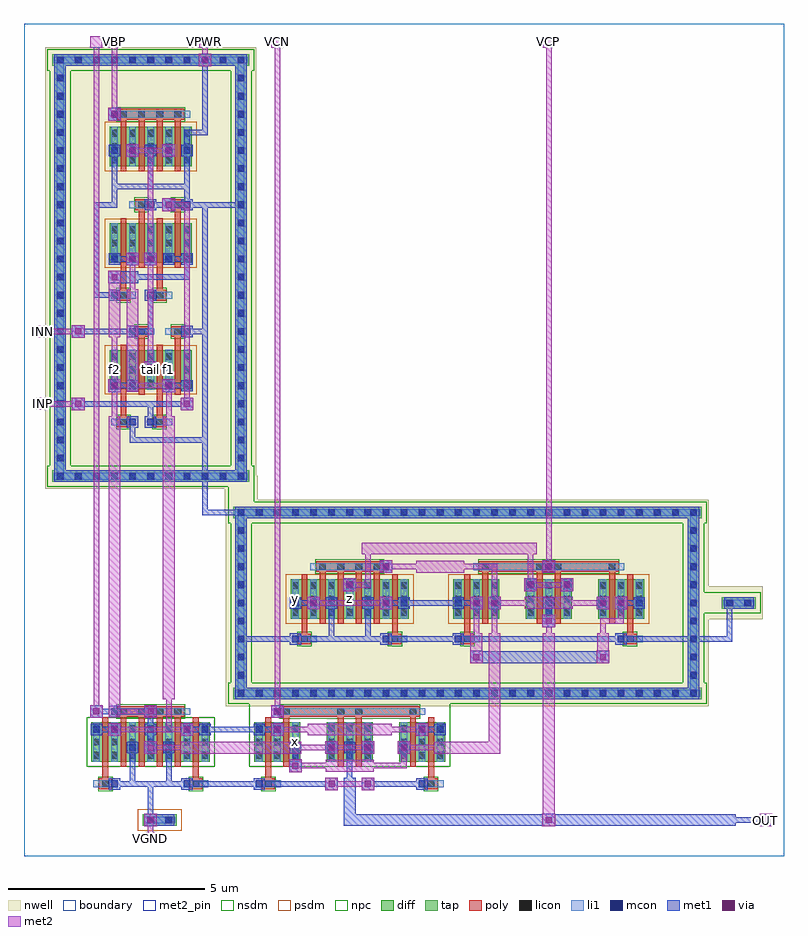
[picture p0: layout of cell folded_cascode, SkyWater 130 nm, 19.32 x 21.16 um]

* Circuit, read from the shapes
.subckt folded_cascode INN INP OUT VBN VBP VCN VCP VGND VPWR f1 f2 tail x y z
XM1 f1 VGND f1 VGND sky130_fd_pr__nfet_01v8 w=1 l=0.15 m=4
XM2 VGND VBN f1 VGND sky130_fd_pr__nfet_01v8 w=1 l=0.15 m=2
XM3 f2 VBN VGND VGND sky130_fd_pr__nfet_01v8 w=1 l=0.15 m=2
XM4 x VCN f1 VGND sky130_fd_pr__nfet_01v8 w=1 l=0.15 m=2
XM5 OUT VCN f2 VGND sky130_fd_pr__nfet_01v8 w=1 l=0.15 m=2
XM6 f2 VPWR f2 VPWR sky130_fd_pr__pfet_01v8 w=1 l=0.15 m=2
XM7 f1 VPWR f1 VPWR sky130_fd_pr__pfet_01v8 w=1 l=0.15 m=2
XM8 tail VBP VPWR VPWR sky130_fd_pr__pfet_01v8 w=1 l=0.15 m=4
XM9 tail INN f2 VPWR sky130_fd_pr__pfet_01v8 w=1 l=0.15 m=2
XM10 tail INP f1 VPWR sky130_fd_pr__pfet_01v8 w=1 l=0.15 m=2
XM11 y VPWR y VPWR sky130_fd_pr__pfet_01v8 w=1 l=0.15 m=4
XM12 VPWR x y VPWR sky130_fd_pr__pfet_01v8 w=1 l=0.15 m=2
XM13 z x VPWR VPWR sky130_fd_pr__pfet_01v8 w=1 l=0.15 m=2
XM14 x VCP y VPWR sky130_fd_pr__pfet_01v8 w=1 l=0.15 m=2
XM15 OUT VCP z VPWR sky130_fd_pr__pfet_01v8 w=1 l=0.15 m=2
.ends

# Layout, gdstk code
import gdstk
lib = gdstk.Library(unit=1e-6, precision=1e-09)
def R(c, l, rs):  # rectangles x0, y0, x1, y1
    for r in rs: c.add(gdstk.rectangle(r[:2], r[2:], *l))
def A(c, l, x, y, w, h, nx, ny, dx, dy):  # array of equal rectangles
    R(c, l, [(x+i*dx, y+j*dy, x+i*dx+w, y+j*dy+h) for i in range(nx) for j in range(ny)])
nwell = (64, 20)
diff = (65, 20)
tap = (65, 44)
poly = (66, 20)
licon = (66, 44)
li1 = (67, 20)
mcon = (67, 44)
met1 = (68, 20)
via = (68, 44)
met2_pin = (69, 16)
met2 = (69, 20)
nsdm = (93, 44)
psdm = (94, 20)
npc = (95, 20)
boundary = (235, 4)

folded_cascode = lib.new_cell('folded_cascode')
R(folded_cascode, nwell, [(5.135,3.815,17.405,6.02), (5.135,6.02,18.785,6.86), (5.135,6.86,17.405,8.729), (5.1,8.729,17.405,9.065), (5.1,9.065,5.94,9.335), (0.535,9.335,5.94,9.671), (0.535,9.671,5.905,20.565)])
A(folded_cascode, diff, 5.855, 2.405, 1.17, 1, 3, 1, 1.84, 0)
A(folded_cascode, diff, 10.915, 6.04, 1.17, 1, 3, 1, 1.84, 0)
R(folded_cascode, diff, [(1.715,2.405,4.725,3.405), (6.775,6.04,9.785,7.04), (2.175,11.865,4.265,12.865), (2.175,15.085,4.265,16.085), (2.175,17.54,4.265,18.54)])
R(folded_cascode, tap, [(3.015,0.775,3.885,1.065), (5.315,3.995,17.225,4.285), (5.375,3.995,5.665,8.885), (16.875,3.995,17.165,8.885), (17.735,6.295,18.605,6.585), (5.315,8.595,17.225,8.885), (0.715,9.515,5.725,9.805), (0.775,9.515,1.065,20.385), (5.375,9.515,5.665,20.385), (0.715,20.095,5.725,20.385)])
A(folded_cascode, poly, 2.455, 2.275, 0.15, 1.405, 4, 1, 0.46, 0)
A(folded_cascode, poly, 7.515, 5.91, 0.15, 1.45, 4, 1, 0.46, 0)
A(folded_cascode, poly, 2.455, 17.41, 0.15, 1.45, 4, 1, 0.46, 0)
R(folded_cascode, poly, [(1.905,1.705,2.235,1.975), (4.205,1.705,4.535,1.975), (6.045,1.705,6.375,1.975), (10.185,1.705,10.515,1.975), (1.995,1.84,2.145,3.535), (4.295,1.84,4.445,3.535), (6.135,1.84,6.285,3.535), (10.275,1.84,10.425,3.535), (6.595,2.275,6.745,3.68), (7.975,2.275,8.125,3.68), (8.435,2.275,8.585,3.68), (9.815,2.275,9.965,3.68), (2.365,3.545,4.075,3.815), (6.505,3.545,10.055,3.815), (6.965,5.385,7.295,5.655), (9.265,5.385,9.595,5.655), (11.105,5.385,11.435,5.655), (15.245,5.385,15.575,5.655), (7.055,5.52,7.205,7.17), (9.355,5.52,9.505,7.17), (11.195,5.52,11.345,7.17), (15.335,5.52,15.485,7.17), (11.655,5.91,11.805,7.36), (13.035,5.91,13.185,7.36), (13.495,5.91,13.645,7.36), (14.875,5.91,15.025,7.36), (7.425,7.225,9.135,7.495), (11.565,7.225,15.115,7.495), (2.365,10.905,2.695,11.175), (3.285,10.905,3.615,11.175), (2.455,11.04,2.605,12.995), (3.375,11.04,3.525,12.995), (2.915,11.735,3.065,13.34), (3.835,11.735,3.985,13.34), (2.825,13.205,3.155,13.475), (3.745,13.205,4.075,13.475), (2.365,14.125,2.695,14.395), (3.285,14.125,3.615,14.395), (2.455,14.26,2.605,16.215), (3.375,14.26,3.525,16.215), (2.915,14.955,3.065,16.56), (3.835,14.955,3.985,16.56), (2.825,16.425,3.155,16.695), (3.745,16.425,4.075,16.695), (2.365,18.725,4.075,18.995)])
A(folded_cascode, licon, 1.755, 2.48, 0.17, 0.17, 7, 3, 0.46, 0.34)
A(folded_cascode, licon, 5.895, 2.48, 0.17, 0.17, 3, 3, 0.46, 0.34)
A(folded_cascode, licon, 7.735, 2.48, 0.17, 0.17, 3, 3, 0.46, 0.34)
A(folded_cascode, licon, 9.575, 2.48, 0.17, 0.17, 3, 3, 0.46, 0.34)
A(folded_cascode, licon, 2.445, 3.595, 0.17, 0.17, 4, 2, 0.46, 15.18)
A(folded_cascode, licon, 5.435, 4.055, 0.17, 0.17, 26, 2, 0.46, 4.6)
A(folded_cascode, licon, 5.435, 4.515, 0.17, 0.17, 1, 9, 0, 0.46)
A(folded_cascode, licon, 16.935, 4.515, 0.17, 0.17, 1, 9, 0, 0.46)
A(folded_cascode, licon, 6.815, 6.115, 0.17, 0.17, 7, 3, 0.46, 0.34)
A(folded_cascode, licon, 10.955, 6.115, 0.17, 0.17, 3, 3, 0.46, 0.34)
A(folded_cascode, licon, 12.795, 6.115, 0.17, 0.17, 3, 3, 0.46, 0.34)
A(folded_cascode, licon, 14.635, 6.115, 0.17, 0.17, 3, 3, 0.46, 0.34)
A(folded_cascode, licon, 7.505, 7.275, 0.17, 0.17, 4, 1, 0.46, 0)
A(folded_cascode, licon, 0.835, 9.575, 0.17, 0.17, 11, 2, 0.46, 10.58)
A(folded_cascode, licon, 0.835, 10.035, 0.17, 0.17, 1, 22, 0, 0.46)
A(folded_cascode, licon, 5.435, 10.035, 0.17, 0.17, 1, 22, 0, 0.46)
A(folded_cascode, licon, 2.215, 11.94, 0.17, 0.17, 5, 3, 0.46, 0.34)
A(folded_cascode, licon, 2.215, 15.16, 0.17, 0.17, 5, 3, 0.46, 0.34)
A(folded_cascode, licon, 2.215, 17.615, 0.17, 0.17, 5, 3, 0.46, 0.34)
R(folded_cascode, licon, [(3.135,0.835,3.305,1.005), (3.595,0.835,3.765,1.005), (1.985,1.755,2.155,1.925), (4.285,1.755,4.455,1.925), (6.125,1.755,6.295,1.925), (10.265,1.755,10.435,1.925), (6.585,3.595,6.755,3.765), (7.965,3.595,8.135,3.765), (8.425,3.595,8.595,3.765), (9.805,3.595,9.975,3.765), (7.045,5.435,7.215,5.605), (9.345,5.435,9.515,5.605), (11.185,5.435,11.355,5.605), (15.325,5.435,15.495,5.605), (17.855,6.355,18.025,6.525), (18.315,6.355,18.485,6.525), (11.645,7.275,11.815,7.445), (13.025,7.275,13.195,7.445), (13.485,7.275,13.655,7.445), (14.865,7.275,15.035,7.445), (2.445,10.955,2.615,11.125), (3.365,10.955,3.535,11.125), (2.905,13.255,3.075,13.425), (3.825,13.255,3.995,13.425), (2.445,14.175,2.615,14.345), (3.365,14.175,3.535,14.345), (2.905,16.475,3.075,16.645), (3.825,16.475,3.995,16.645)])
A(folded_cascode, li1, 1.755, 2.4, 0.17, 1.01, 7, 1, 0.46, 0)
A(folded_cascode, li1, 5.895, 2.4, 0.17, 1.01, 3, 1, 0.46, 0)
A(folded_cascode, li1, 7.735, 2.4, 0.17, 1.01, 3, 1, 0.46, 0)
A(folded_cascode, li1, 9.575, 2.4, 0.17, 1.01, 3, 1, 0.46, 0)
A(folded_cascode, li1, 6.815, 6.035, 0.17, 1.01, 7, 1, 0.46, 0)
A(folded_cascode, li1, 10.955, 6.035, 0.17, 1.01, 3, 1, 0.46, 0)
A(folded_cascode, li1, 12.795, 6.035, 0.17, 1.01, 3, 1, 0.46, 0)
A(folded_cascode, li1, 14.635, 6.035, 0.17, 1.01, 3, 1, 0.46, 0)
A(folded_cascode, li1, 2.215, 11.86, 0.17, 1.01, 5, 2, 0.46, 3.22)
A(folded_cascode, li1, 2.215, 17.535, 0.17, 1.01, 5, 1, 0.46, 0)
R(folded_cascode, li1, [(3.055,0.835,3.845,1.005), (1.755,1.755,2.385,1.925), (4.055,1.755,4.685,1.925), (5.895,1.755,6.525,1.925), (10.035,1.755,10.665,1.925), (2.215,3.595,4.225,3.765), (6.355,3.595,10.205,3.765), (5.355,4.055,17.185,4.225), (5.435,4.055,5.605,8.825), (16.935,4.055,17.105,8.825), (6.815,5.435,7.445,5.605), (9.115,5.435,9.745,5.605), (10.955,5.435,11.585,5.605), (15.095,5.435,15.725,5.605), (17.775,6.355,18.565,6.525), (7.275,7.275,9.285,7.445), (11.415,7.275,15.265,7.445), (5.355,8.655,17.185,8.825), (0.755,9.575,5.685,9.745), (0.835,9.575,1.005,20.325), (5.435,9.575,5.605,20.325), (2.215,10.955,2.845,11.125), (3.135,10.955,3.765,11.125), (2.675,13.255,3.305,13.425), (3.595,13.255,4.225,13.425), (2.215,14.175,2.845,14.345), (3.135,14.175,3.765,14.345), (2.675,16.475,3.305,16.645), (3.595,16.475,4.225,16.645), (2.215,18.775,4.225,18.945), (0.755,20.155,5.685,20.325)])
A(folded_cascode, mcon, 2.215, 1.755, 0.17, 0.17, 3, 1, 1.84, 0)
A(folded_cascode, mcon, 7.735, 2.675, 0.17, 0.17, 3, 1, 0.46, 0)
A(folded_cascode, mcon, 2.215, 3.135, 0.17, 0.17, 3, 1, 0.92, 0)
A(folded_cascode, mcon, 5.435, 4.055, 0.17, 0.17, 26, 2, 0.46, 4.6)
A(folded_cascode, mcon, 5.435, 4.515, 0.17, 0.17, 1, 9, 0, 0.46)
A(folded_cascode, mcon, 16.935, 4.515, 0.17, 0.17, 1, 9, 0, 0.46)
A(folded_cascode, mcon, 6.815, 6.355, 0.17, 0.17, 3, 1, 0.46, 0)
A(folded_cascode, mcon, 8.655, 6.355, 0.17, 0.17, 3, 1, 0.46, 0)
A(folded_cascode, mcon, 10.955, 6.355, 0.17, 0.17, 3, 1, 0.46, 0)
A(folded_cascode, mcon, 14.635, 6.355, 0.17, 0.17, 3, 1, 0.46, 0)
A(folded_cascode, mcon, 0.835, 9.575, 0.17, 0.17, 11, 2, 0.46, 10.58)
A(folded_cascode, mcon, 0.835, 10.035, 0.17, 0.17, 1, 5, 0, 0.46)
A(folded_cascode, mcon, 5.435, 10.035, 0.17, 0.17, 1, 5, 0, 0.46)
A(folded_cascode, mcon, 0.835, 12.335, 0.17, 0.17, 3, 1, 2.3, 0)
A(folded_cascode, mcon, 0.835, 12.795, 0.17, 0.17, 1, 16, 0, 0.46)
A(folded_cascode, mcon, 2.675, 13.255, 0.17, 0.17, 3, 1, 1.38, 0)
A(folded_cascode, mcon, 5.435, 13.715, 0.17, 0.17, 1, 14, 0, 0.46)
A(folded_cascode, mcon, 2.215, 15.095, 0.17, 0.17, 5, 2, 0.46, 2.76)
R(folded_cascode, mcon, [(3.135,0.835,3.305,1.005), (3.595,0.835,3.765,1.005), (10.035,1.755,10.205,1.925), (2.675,2.675,2.845,2.845), (3.595,2.675,3.765,2.845), (6.815,2.675,6.985,2.845), (9.575,2.675,9.745,2.845), (1.755,3.135,1.925,3.305), (4.515,3.135,4.685,3.305), (5.895,3.135,6.065,3.305), (6.355,3.135,6.525,3.305), (10.035,3.135,10.205,3.305), (10.495,3.135,10.665,3.305), (2.215,3.595,2.385,3.765), (6.355,3.595,6.525,3.765), (6.815,5.435,6.985,5.605), (9.115,5.435,9.285,5.605), (10.955,5.435,11.125,5.605), (15.095,5.435,15.265,5.605), (13.255,6.355,13.425,6.525), (17.855,6.355,18.025,6.525), (18.315,6.355,18.485,6.525), (8.195,6.815,8.365,6.985), (12.795,6.815,12.965,6.985), (13.715,6.815,13.885,6.985), (9.115,7.275,9.285,7.445), (13.255,7.275,13.425,7.445), (2.675,10.955,2.845,11.125), (3.135,10.955,3.305,11.125), (2.215,11.875,2.385,12.045), (2.675,11.875,2.845,12.045), (3.595,11.875,3.765,12.045), (4.055,11.875,4.225,12.045), (5.435,12.795,5.605,12.965), (2.215,14.175,2.385,14.345), (3.135,14.175,3.305,14.345), (3.135,16.475,3.305,16.645), (4.055,16.475,4.225,16.645), (2.215,18.775,2.385,18.945)])
A(folded_cascode, met1, 2.155, 1.695, 0.29, 0.29, 3, 1, 1.84, 0)
A(folded_cascode, met1, 7.66, 2.6, 0.32, 0.32, 3, 1, 0.92, 0)
A(folded_cascode, met1, 7.675, 2.615, 0.29, 0.29, 3, 1, 0.46, 0)
A(folded_cascode, met1, 2.155, 3.075, 0.29, 0.29, 3, 1, 0.92, 0)
A(folded_cascode, met1, 6.755, 6.295, 0.29, 0.29, 3, 1, 0.46, 0)
A(folded_cascode, met1, 8.595, 6.295, 0.29, 0.29, 3, 1, 0.46, 0)
A(folded_cascode, met1, 10.895, 6.295, 0.29, 0.29, 3, 1, 0.46, 0)
A(folded_cascode, met1, 14.575, 6.295, 0.29, 0.29, 3, 1, 0.46, 0)
A(folded_cascode, met1, 2.155, 15.035, 0.29, 0.29, 5, 2, 0.46, 2.76)
R(folded_cascode, met1, [(3.06,0.76,3.38,1.08), (13.18,0.76,13.5,1.08), (18.7,0.76,19.02,1.08), (8.13,0.77,18.09,1.07), (8.13,0.77,8.43,1.99), (3.075,0.775,3.825,1.065), (3.15,0.85,3.29,1.91), (3.15,0.85,3.29,0.99), (17.87,0.85,18.93,0.99), (7.66,1.68,7.98,2), (8.58,1.68,8.9,2), (9.975,1.695,10.265,1.985), (2.23,1.77,2.83,1.91), (2.69,1.77,4.21,1.91), (2.69,1.77,2.83,2.83), (3.61,1.77,3.75,2.83), (4.07,1.77,6.05,1.91), (5.91,1.77,7.89,1.91), (8.21,1.77,8.35,2.83), (8.67,1.77,10.19,1.91), (6.74,2.14,7.06,2.46), (6.83,2.23,6.97,2.83), (3.06,2.6,3.38,2.92), (2.615,2.615,2.905,2.905), (3.535,2.615,3.825,2.905), (6.755,2.615,7.045,2.905), (9.515,2.615,9.805,2.905), (3.15,2.69,3.29,3.29), (2.14,3.06,2.46,3.38), (3.98,3.06,4.3,3.38), (6.28,3.06,6.6,3.38), (9.96,3.06,10.28,3.38), (1.695,3.075,1.985,3.365), (4.455,3.075,4.745,3.365), (5.835,3.075,6.125,3.365), (6.295,3.075,6.585,3.365), (9.975,3.075,10.265,3.365), (10.435,3.075,10.725,3.365), (1.77,3.15,2.37,3.29), (3.15,3.15,3.29,3.75), (4.07,3.15,4.67,3.29), (4.53,3.15,6.05,3.29), (5.91,3.15,6.51,3.29), (10.05,3.15,10.65,3.29), (1.68,3.52,2,3.84), (3.06,3.52,3.38,3.84), (6.28,3.52,6.6,3.84), (2.155,3.535,2.445,3.825), (6.295,3.535,6.585,3.825), (1.77,3.61,2.37,3.75), (5.375,3.995,17.165,4.285), (5.375,3.995,5.665,8.885), (16.875,3.995,17.165,8.885), (11.34,4.9,11.66,5.22), (14.56,4.9,14.88,5.22), (11.35,4.91,14.87,5.21), (6.755,5.375,7.045,5.665), (9.055,5.375,9.345,5.665), (10.895,5.375,11.185,5.665), (15.035,5.375,15.325,5.665), (5.45,5.45,6.97,5.59), (5.45,5.45,5.59,8.81), (6.83,5.45,7.89,5.59), (7.75,5.45,9.27,5.59), (7.75,5.45,7.89,6.51), (8.67,5.45,8.81,6.51), (9.13,5.45,11.11,5.59), (10.97,5.45,15.25,5.59), (15.11,5.45,18.01,5.59), (17.87,5.45,18.01,6.51), (13.18,5.82,13.5,6.14), (13.27,5.91,13.41,6.51), (7.2,6.28,7.52,6.6), (9.04,6.28,9.36,6.6), (11.34,6.28,11.66,6.6), (11.8,6.28,12.12,6.6), (14.56,6.28,14.88,6.6), (15.02,6.28,15.34,6.6), (13.195,6.295,13.485,6.585), (17.795,6.295,18.545,6.585), (6.83,6.37,7.43,6.51), (9.13,6.37,9.73,6.51), (9.59,6.37,11.11,6.51), (10.97,6.37,11.57,6.51), (15.11,6.37,15.71,6.51), (17.87,6.37,18.01,6.51), (8.12,6.74,8.44,7.06), (12.72,6.74,13.04,7.06), (13.64,6.74,13.96,7.06), (8.135,6.755,8.425,7.045), (12.735,6.755,13.025,7.045), (13.655,6.755,13.945,7.045), (9.04,7.2,9.36,7.52), (13.18,7.2,13.5,7.52), (9.055,7.215,9.345,7.505), (13.195,7.215,13.485,7.505), (5.375,8.595,17.165,8.885), (4.53,8.67,4.67,10.65), (4.53,8.67,5.59,8.81), (5.45,8.67,5.59,8.81), (5.45,8.67,5.59,8.81), (0.775,9.515,1.065,20.385), (0.775,9.515,5.665,9.805), (5.375,9.515,5.665,20.385), (2.69,10.51,4.67,10.65), (2.69,10.51,2.83,11.11), (4.53,10.51,4.67,13.41), (2.615,10.895,2.905,11.185), (3.075,10.895,3.365,11.185), (3.15,10.97,3.29,11.57), (1.22,11.34,1.54,11.66), (3.98,11.34,4.3,11.66), (1.31,11.43,3.29,11.57), (3.15,11.43,4.21,11.57), (2.14,11.8,2.46,12.12), (3.52,11.8,3.84,12.12), (2.155,11.815,2.445,12.105), (2.615,11.815,2.905,12.105), (3.535,11.815,3.825,12.105), (3.995,11.815,4.285,12.105), (2.23,11.89,2.83,12.03), (3.61,11.89,4.21,12.03), (3.06,12.26,3.38,12.58), (3.075,12.275,3.365,12.565), (1.22,13.18,1.54,13.5), (2.615,13.195,2.905,13.485), (3.995,13.195,4.285,13.485), (1.31,13.27,2.83,13.41), (2.69,13.27,3.29,13.41), (3.15,13.27,3.29,14.33), (4.07,13.27,4.67,13.41), (4.53,13.27,4.67,16.63), (2.155,14.115,2.445,14.405), (3.075,14.115,3.365,14.405), (1.77,14.19,2.37,14.33), (1.77,14.19,1.91,16.63), (2.14,14.56,2.46,14.88), (2.15,14.57,2.91,14.87), (2.69,14.65,4.21,14.79), (4.07,14.65,4.21,15.25), (2.6,15.02,2.92,15.34), (3.06,15.02,3.38,15.34), (2.23,15.11,2.83,15.25), (3.61,15.11,4.21,15.25), (3.52,16.4,3.84,16.72), (3.075,16.415,3.365,16.705), (3.995,16.415,4.285,16.705), (1.77,16.49,2.37,16.63), (2.23,16.49,2.37,17.09), (3.15,16.49,3.75,16.63), (4.07,16.49,5.59,16.63), (4.07,16.49,4.21,18.01), (5.45,16.49,5.59,16.63), (2.23,16.95,2.37,18.01), (2.23,16.95,3.29,17.09), (3.15,16.95,3.29,18.01), (3.15,16.95,4.21,17.09), (2.6,17.78,2.92,18.1), (3.52,17.78,3.84,18.1), (4.07,17.87,4.21,18.47), (4.07,18.33,4.67,18.47), (4.53,18.33,4.67,20.31), (2.14,18.7,2.46,19.02), (2.155,18.715,2.445,19.005), (4.44,20.08,4.76,20.4), (0.775,20.095,5.665,20.385), (4.53,20.17,4.67,20.31)])
A(folded_cascode, via, 7.745, 2.685, 0.15, 0.15, 3, 1, 0.92, 0)
R(folded_cascode, via, [(3.145,0.845,3.295,0.995), (13.265,0.845,13.415,0.995), (18.785,0.845,18.935,0.995), (7.745,1.765,7.895,1.915), (8.665,1.765,8.815,1.915), (6.825,2.225,6.975,2.375), (3.145,2.685,3.295,2.835), (2.225,3.145,2.375,3.295), (4.065,3.145,4.215,3.295), (6.365,3.145,6.515,3.295), (10.045,3.145,10.195,3.295), (1.765,3.605,1.915,3.755), (3.145,3.605,3.295,3.755), (6.365,3.605,6.515,3.755), (11.425,4.985,11.575,5.135), (14.645,4.985,14.795,5.135), (13.265,5.905,13.415,6.055), (7.285,6.365,7.435,6.515), (9.125,6.365,9.275,6.515), (11.425,6.365,11.575,6.515), (11.885,6.365,12.035,6.515), (14.645,6.365,14.795,6.515), (15.105,6.365,15.255,6.515), (8.205,6.825,8.355,6.975), (12.805,6.825,12.955,6.975), (13.725,6.825,13.875,6.975), (9.125,7.285,9.275,7.435), (13.265,7.285,13.415,7.435), (1.305,11.425,1.455,11.575), (4.065,11.425,4.215,11.575), (2.225,11.885,2.375,12.035), (3.605,11.885,3.755,12.035), (3.145,12.345,3.295,12.495), (1.305,13.265,1.455,13.415), (2.225,14.645,2.375,14.795), (2.685,15.105,2.835,15.255), (3.145,15.105,3.295,15.255), (3.605,16.485,3.755,16.635), (2.685,17.865,2.835,18.015), (3.605,17.865,3.755,18.015), (2.225,18.785,2.375,18.935), (4.525,20.165,4.675,20.315)])
R(folded_cascode, met2_pin, [(3.07,0.31,3.37,0.61), (18.71,0.77,19.01,1.07), (0.31,11.35,0.61,11.65), (0.31,13.19,0.61,13.49), (1.69,20.55,1.99,20.85), (2.15,20.55,2.45,20.85), (4.45,20.55,4.75,20.85), (6.29,20.55,6.59,20.85), (13.19,20.55,13.49,20.85)])
A(folded_cascode, met2, 7.66, 2.6, 0.32, 0.32, 3, 1, 0.92, 0)
R(folded_cascode, met2, [(3.07,0.31,3.37,0.61), (3.15,0.39,3.29,0.99), (3.15,0.39,3.29,0.53), (3.06,0.76,3.38,1.08), (13.18,0.76,13.5,1.08), (18.7,0.76,19.02,1.08), (13.19,0.77,13.49,5.67), (18.71,0.77,19.01,1.07), (18.79,0.85,18.93,0.99), (7.66,1.68,7.98,2), (8.58,1.68,8.9,2), (7.75,1.77,8.81,1.91), (6.74,2.14,7.06,2.46), (7.67,2.15,8.89,2.45), (6.83,2.23,7.89,2.37), (8.67,2.23,9.73,2.37), (9.59,2.23,9.73,2.83), (3.06,2.6,3.38,2.92), (3.99,2.61,7.05,2.91), (10.43,2.61,12.11,2.91), (11.81,2.61,12.11,5.67), (3.15,2.69,4.21,2.83), (6.83,2.69,7.89,2.83), (7.75,2.69,8.81,2.83), (9.59,2.69,10.65,2.83), (2.14,3.06,2.46,3.38), (3.98,3.06,4.3,3.38), (6.28,3.06,6.6,3.38), (9.96,3.06,10.28,3.38), (7.21,3.07,9.35,3.37), (2.23,3.15,3.75,3.29), (3.61,3.15,3.75,4.21), (3.61,3.15,4.21,3.29), (6.37,3.15,7.43,3.29), (9.13,3.15,10.19,3.29), (1.68,3.52,2,3.84), (3.06,3.52,3.38,3.84), (6.28,3.52,6.6,3.84), (2.15,3.53,2.45,11.19), (1.77,3.61,1.91,20.77), (2.23,3.61,3.29,3.75), (6.37,3.61,6.51,20.77), (3.53,3.99,3.83,11.19), (11.34,4.9,11.66,5.22), (14.56,4.9,14.88,5.22), (11.35,4.91,11.65,5.67), (14.57,4.91,14.87,5.67), (11.43,5.45,11.57,6.51), (11.89,5.45,12.03,6.51), (13.27,5.45,13.41,6.05), (14.65,5.45,14.79,6.05), (13.18,5.82,13.5,6.14), (14.65,5.91,15.25,6.05), (15.11,5.91,15.25,6.51), (7.2,6.28,7.52,6.6), (9.04,6.28,9.36,6.6), (11.34,6.28,11.66,6.6), (11.8,6.28,12.12,6.6), (14.56,6.28,14.88,6.6), (15.02,6.28,15.34,6.6), (12.73,6.29,13.95,6.59), (7.29,6.37,9.27,6.51), (11.89,6.37,12.95,6.51), (11.89,6.37,12.03,7.43), (13.73,6.37,14.79,6.51), (8.12,6.74,8.44,7.06), (12.72,6.74,13.04,7.06), (13.64,6.74,13.96,7.06), (8.21,6.83,8.81,6.97), (8.67,6.83,8.81,7.89), (12.81,6.83,13.87,6.97), (12.81,6.83,12.95,7.89), (9.04,7.2,9.36,7.52), (13.18,7.2,13.5,7.52), (9.97,7.21,11.19,7.51), (9.13,7.29,10.19,7.43), (10.97,7.29,12.03,7.43), (13.27,7.29,13.41,20.77), (8.59,7.67,13.03,7.97), (2.23,10.97,2.37,12.03), (3.61,10.97,3.75,12.03), (1.22,11.34,1.54,11.66), (3.98,11.34,4.3,11.66), (0.31,11.35,0.61,11.65), (0.39,11.43,1.45,11.57), (0.39,11.43,0.53,11.57), (4.07,11.43,4.21,16.63), (2.14,11.8,2.46,12.12), (3.52,11.8,3.84,12.12), (2.61,11.81,2.91,14.41), (2.23,11.89,2.37,13.41), (2.69,11.89,3.75,12.03), (3.06,12.26,3.38,12.58), (3.15,12.35,3.29,15.25), (1.22,13.18,1.54,13.5), (0.31,13.19,0.61,13.49), (2.15,13.19,2.45,14.87), (0.39,13.27,1.45,13.41), (0.39,13.27,0.53,13.41), (2.69,14.19,2.83,15.25), (2.14,14.56,2.46,14.88), (2.6,15.02,2.92,15.34), (3.06,15.02,3.38,15.34), (3.15,15.11,3.29,18.01), (3.52,16.4,3.84,16.72), (3.61,16.49,4.21,16.63), (2.6,17.78,2.92,18.1), (3.52,17.78,3.84,18.1), (2.69,17.87,3.29,18.01), (3.15,17.87,3.75,18.01), (2.14,18.7,2.46,19.02), (2.23,18.79,2.37,20.77), (4.44,20.08,4.76,20.4), (4.53,20.17,4.67,20.77), (1.69,20.55,1.99,20.85), (2.15,20.55,2.45,20.85), (4.45,20.55,4.75,20.85), (6.29,20.55,6.59,20.85), (13.19,20.55,13.49,20.85), (1.77,20.63,1.91,20.77), (2.23,20.63,2.37,20.77), (4.53,20.63,4.67,20.77), (6.37,20.63,6.51,20.77), (13.27,20.63,13.41,20.77)])
R(folded_cascode, nsdm, [(1.59,2.28,4.85,3.53), (5.73,2.28,10.83,3.87), (5.19,3.87,17.35,4.41), (5.25,4.41,5.79,8.47), (16.75,4.41,17.29,6.17), (16.75,6.17,18.73,6.71), (16.75,6.71,17.29,8.47), (5.19,8.47,17.35,9.01), (5.19,9.01,5.85,9.39), (0.59,9.39,5.85,9.93), (0.65,9.93,1.19,19.97), (5.25,9.93,5.79,19.97), (0.59,19.97,5.85,20.51)])
R(folded_cascode, psdm, [(2.89,0.65,4.01,1.19), (6.65,5.915,9.91,7.165), (10.79,5.915,15.89,7.165), (2.05,11.74,4.39,12.99), (2.05,14.96,4.39,16.21), (2.05,17.415,4.39,18.665)])
R(folded_cascode, npc, [(1.885,1.655,2.255,2.025), (4.185,1.655,4.555,2.025), (6.025,1.655,6.395,2.025), (10.165,1.655,10.535,2.025), (2.345,3.495,4.095,3.865), (6.485,3.495,10.075,3.865), (6.945,5.335,7.315,5.705), (9.245,5.335,9.615,5.705), (11.085,5.335,11.455,5.705), (15.225,5.335,15.595,5.705), (7.405,7.175,9.155,7.545), (11.545,7.175,15.135,7.545), (2.345,10.855,2.715,11.225), (3.265,10.855,3.635,11.225), (2.805,13.155,3.175,13.525), (3.725,13.155,4.095,13.525), (2.345,14.075,2.715,14.445), (3.265,14.075,3.635,14.445), (2.805,16.375,3.175,16.745), (3.725,16.375,4.095,16.745), (2.345,18.675,4.095,19.045)])
R(folded_cascode, boundary, [(0,0,19.32,21.16)])
folded_cascode.add(gdstk.Label('f2', (2.3,12.365), layer=67, texttype=5))
folded_cascode.add(gdstk.Label('tail', (3.22,12.365), layer=67, texttype=5))
folded_cascode.add(gdstk.Label('f1', (3.68,12.365), layer=67, texttype=5))
folded_cascode.add(gdstk.Label('x', (6.9,2.905), layer=67, texttype=5))
folded_cascode.add(gdstk.Label('y', (6.9,6.54), layer=67, texttype=5))
folded_cascode.add(gdstk.Label('z', (8.28,6.54), layer=67, texttype=5))
folded_cascode.add(gdstk.Label('INP', (0.46,11.5), layer=69, texttype=5))
folded_cascode.add(gdstk.Label('INN', (0.46,13.34), layer=69, texttype=5))
folded_cascode.add(gdstk.Label('VBP', (2.3,20.7), layer=69, texttype=5))
folded_cascode.add(gdstk.Label('VBN', (1.84,20.7), layer=69, texttype=5))
folded_cascode.add(gdstk.Label('VCN', (6.44,20.7), layer=69, texttype=5))
folded_cascode.add(gdstk.Label('VCP', (13.34,20.7), layer=69, texttype=5))
folded_cascode.add(gdstk.Label('OUT', (18.86,0.92), layer=69, texttype=5))
folded_cascode.add(gdstk.Label('VPWR', (4.6,20.7), layer=69, texttype=5))
folded_cascode.add(gdstk.Label('VGND', (3.22,0.46), layer=69, texttype=5))
folded_cascode.add(gdstk.Label('INP', (0.46,11.5), layer=69, texttype=16))
folded_cascode.add(gdstk.Label('INN', (0.46,13.34), layer=69, texttype=16))
folded_cascode.add(gdstk.Label('VBP', (2.3,20.7), layer=69, texttype=16))
folded_cascode.add(gdstk.Label('VBN', (1.84,20.7), layer=69, texttype=16))
folded_cascode.add(gdstk.Label('VCN', (6.44,20.7), layer=69, texttype=16))
folded_cascode.add(gdstk.Label('VCP', (13.34,20.7), layer=69, texttype=16))
folded_cascode.add(gdstk.Label('OUT', (18.86,0.92), layer=69, texttype=16))
folded_cascode.add(gdstk.Label('VPWR', (4.6,20.7), layer=69, texttype=16))
folded_cascode.add(gdstk.Label('VGND', (3.22,0.46), layer=69, texttype=16))

lib.write_gds('folded_cascode.gds')
